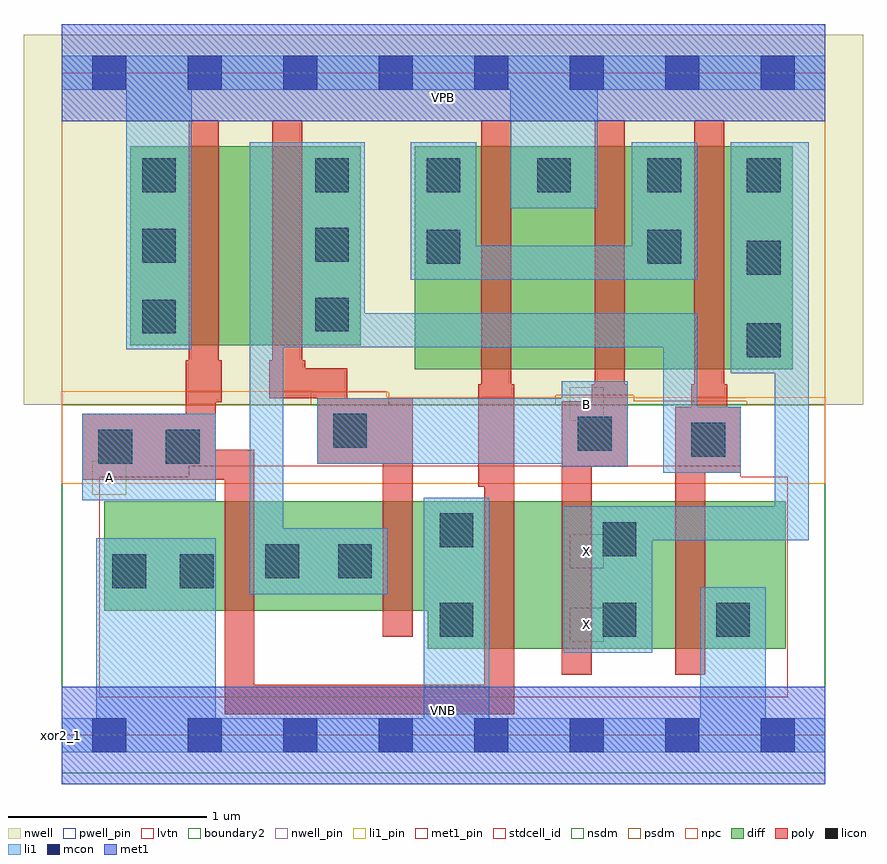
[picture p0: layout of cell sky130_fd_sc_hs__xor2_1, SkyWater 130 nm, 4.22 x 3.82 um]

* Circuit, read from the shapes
.subckt sky130_fd_sc_hs__xor2_1 A B VGND VNB VPB VPWR X
XM1 n1 A VGND VNB sky130_fd_pr__nfet_01v8_lvt w=0.55 l=0.15
XM2 VGND B n1 VNB sky130_fd_pr__nfet_01v8_lvt w=0.55 l=0.15
XM3 n2 A VGND VNB sky130_fd_pr__nfet_01v8_lvt w=0.74 l=0.15
XM4 X B n2 VNB sky130_fd_pr__nfet_01v8_lvt w=0.74 l=0.15
XM5 VGND n1 X VNB sky130_fd_pr__nfet_01v8_lvt w=0.74 l=0.15
XM6 n3 A VPWR VPB sky130_fd_pr__pfet_01v8 w=1 l=0.15
XM7 n1 B n3 VPB sky130_fd_pr__pfet_01v8 w=1 l=0.15
XM8 VPWR A n4 VPB sky130_fd_pr__pfet_01v8 w=1.12 l=0.15
XM9 n4 B VPWR VPB sky130_fd_pr__pfet_01v8 w=1.12 l=0.15
XM10 X n1 n4 VPB sky130_fd_pr__pfet_01v8 w=1.12 l=0.15
.ends

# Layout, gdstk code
import gdstk
lib = gdstk.Library(unit=1e-6, precision=1e-09)
def R(c, l, rs):  # rectangles x0, y0, x1, y1
    for r in rs: c.add(gdstk.rectangle(r[:2], r[2:], *l))
def A(c, l, x, y, w, h, nx, ny, dx, dy):  # array of equal rectangles
    R(c, l, [(x+i*dx, y+j*dy, x+i*dx+w, y+j*dy+h) for i in range(nx) for j in range(ny)])
def P(c, l, *ps):  # polygons
    for p in ps: c.add(gdstk.Polygon(p, *l))
nwell_pin = (64, 16)
nwell = (64, 20)
diff = (65, 20)
poly = (66, 20)
licon = (66, 44)
li1_pin = (67, 16)
li1 = (67, 20)
mcon = (67, 44)
met1_pin = (68, 16)
met1 = (68, 20)
stdcell_id = (81, 4)
nsdm = (93, 44)
psdm = (94, 20)
npc = (95, 20)
pwell_pin = (122, 16)
lvtn = (125, 44)
boundary2 = (236, 0)

sky130_fd_sc_hs__xor2_1 = lib.new_cell('sky130_fd_sc_hs__xor2_1')
R(sky130_fd_sc_hs__xor2_1, nwell_pin, [(0,3.085,3.84,3.33)])
R(sky130_fd_sc_hs__xor2_1, nwell, [(-0.19,1.66,4.03,3.52)])
R(sky130_fd_sc_hs__xor2_1, diff, [(1.775,1.84,3.675,2.96), (0.345,1.96,1.505,2.96)])
P(sky130_fd_sc_hs__xor2_1, diff, [(3.64,1.175),(0.215,1.175),(0.215,0.625),(1.84,0.625),(1.84,0.435),(3.64,0.435)])
P(sky130_fd_sc_hs__xor2_1, poly, [(2.845,1.765),(2.83,1.765),(2.83,3.09),(2.68,3.09),(2.68,1.765),(2.665,1.765),(2.665,1.68),(2.515,1.68),(2.515,0.305),(2.665,0.305),(2.665,1.35),(2.845,1.35)],
  [(3.415,1.65),(3.345,1.65),(3.345,1.765),(3.33,1.765),(3.33,3.09),(3.18,3.09),(3.18,1.765),(3.165,1.765),(3.165,1.65),(3.085,1.65),(3.085,0.305),(3.235,0.305),(3.235,1.32),(3.415,1.32)],
  [(1.765,1.695),(1.435,1.695),(1.435,1.845),(1.225,1.845),(1.225,1.885),(1.21,1.885),(1.21,3.09),(1.06,3.09),(1.06,1.885),(1.045,1.885),(1.045,1.695),(1.285,1.695),(1.285,1.365),(1.615,1.365),(1.615,0.495),(1.765,0.495)],
  [(2.275,1.765),(2.26,1.765),(2.26,3.09),(2.11,3.09),(2.11,1.765),(2.095,1.765),(2.095,1.25),(2.125,1.25),(2.125,0.255),(0.97,0.255),(0.97,1.435),(0.775,1.435),(0.775,1.675),(0.805,1.675),(0.805,1.885),(0.79,1.885),(0.79,3.09),(0.64,3.09),(0.64,1.885),(0.625,1.885),(0.625,1.615),(0.105,1.615),(0.105,1.285),(0.82,1.285),(0.82,0.105),(2.275,0.105)])
A(sky130_fd_sc_hs__xor2_1, licon, 3.445, 1.9, 0.17, 0.17, 1, 3, 0, 0.415)
A(sky130_fd_sc_hs__xor2_1, licon, 0.405, 2.02, 0.17, 0.17, 1, 3, 0, 0.355)
A(sky130_fd_sc_hs__xor2_1, licon, 1.275, 2.03, 0.17, 0.17, 1, 3, 0, 0.35)
A(sky130_fd_sc_hs__xor2_1, licon, 1.835, 2.73, 0.17, 0.17, 3, 1, 0.555, 0)
R(sky130_fd_sc_hs__xor2_1, licon, [(1.9,0.495,2.07,0.665), (2.72,0.495,2.89,0.665), (3.29,0.495,3.46,0.665), (0.255,0.74,0.425,0.91), (0.595,0.74,0.765,0.91), (1.025,0.79,1.195,0.96), (1.39,0.79,1.56,0.96), (2.72,0.9,2.89,1.07), (1.9,0.945,2.07,1.115), (0.185,1.365,0.355,1.535), (0.525,1.365,0.695,1.535), (3.165,1.4,3.335,1.57), (2.595,1.43,2.765,1.6), (1.365,1.445,1.535,1.615), (1.835,2.37,2.005,2.54), (2.945,2.37,3.115,2.54)])
R(sky130_fd_sc_hs__xor2_1, li1_pin, [(2.555,0.47,2.725,0.64), (2.555,0.84,2.725,1.01), (0.155,1.21,0.325,1.38), (2.555,1.58,2.725,1.75)])
R(sky130_fd_sc_hs__xor2_1, li1, [(0.105,1.18,0.775,1.615)])
P(sky130_fd_sc_hs__xor2_1, li1, [(0,-0.085),(0,0.085),(0.175,0.085),(0.175,0.99),(0.775,0.99),(0.775,0.085),(1.82,0.085),(1.82,1.195),(2.15,1.195),(2.15,0.085),(3.21,0.085),(3.21,0.745),(3.54,0.745),(3.54,0.085),(3.84,0.085),(3.84,-0.085)],
  [(0,3.245),(0,3.415),(3.84,3.415),(3.84,3.245),(2.695,3.245),(2.695,2.65),(2.255,2.65),(2.255,3.245),(0.655,3.245),(0.655,1.94),(0.325,1.94),(0.325,3.245)],
  [(2.845,1.35),(2.515,1.35),(2.515,1.365),(1.285,1.365),(1.285,1.695),(2.515,1.695),(2.515,1.78),(2.845,1.78)],
  [(2.525,0.415),(2.525,1.15),(3.585,1.15),(3.585,1.82),(3.365,1.82),(3.365,2.98),(3.755,2.98),(3.755,0.98),(2.97,0.98),(2.97,0.415)],
  [(1.525,2.12),(3.195,2.12),(3.195,1.65),(3.415,1.65),(3.415,1.32),(3.025,1.32),(3.025,1.95),(1.115,1.95),(1.115,1.04),(1.64,1.04),(1.64,0.71),(0.945,0.71),(0.945,2.98),(1.525,2.98)],
  [(2.085,2.46),(2.865,2.46),(2.865,2.98),(3.195,2.98),(3.195,2.29),(1.755,2.29),(1.755,2.98),(2.085,2.98)])
A(sky130_fd_sc_hs__xor2_1, mcon, 0.155, -0.085, 0.17, 0.17, 8, 2, 0.48, 3.33)
R(sky130_fd_sc_hs__xor2_1, met1_pin, [(0,0,3.84,0.245), (0,3.085,3.84,3.33)])
R(sky130_fd_sc_hs__xor2_1, met1, [(0,-0.245,3.84,0.245), (0,3.085,3.84,3.575)])
R(sky130_fd_sc_hs__xor2_1, stdcell_id, [(0,0,3.84,3.33)])
R(sky130_fd_sc_hs__xor2_1, nsdm, [(0,-0.19,3.84,1.66)])
P(sky130_fd_sc_hs__xor2_1, psdm, [(3.84,3.52),(0,3.52),(0,1.66),(1.255,1.66),(1.255,1.725),(1.645,1.725),(1.645,1.66),(2.485,1.66),(2.485,1.71),(2.875,1.71),(2.875,1.68),(3.445,1.68),(3.445,1.66),(3.84,1.66)])
P(sky130_fd_sc_hs__xor2_1, npc, [(3.84,1.7),(1.635,1.7),(1.635,1.73),(0,1.73),(0,1.265),(3.84,1.265)])
R(sky130_fd_sc_hs__xor2_1, pwell_pin, [(0,0,3.84,0.245)])
P(sky130_fd_sc_hs__xor2_1, lvtn, [(3.65,1.3),(3.415,1.3),(3.415,1.355),(0.64,1.355),(0.64,1.3),(0.19,1.3),(0.19,0.19),(3.65,0.19)])
R(sky130_fd_sc_hs__xor2_1, boundary2, [(0,0,3.84,3.33)])
sky130_fd_sc_hs__xor2_1.add(gdstk.Label('xor2_1', (0,0), layer=83, texttype=44))
sky130_fd_sc_hs__xor2_1.add(gdstk.Label('VNB', (1.92,0.123), layer=64, texttype=59))
sky130_fd_sc_hs__xor2_1.add(gdstk.Label('VPB', (1.92,3.208), layer=64, texttype=5))
sky130_fd_sc_hs__xor2_1.add(gdstk.Label('VPWR', (1.92,3.208), layer=68, texttype=5))
sky130_fd_sc_hs__xor2_1.add(gdstk.Label('VGND', (1.92,0.123), layer=68, texttype=5))
sky130_fd_sc_hs__xor2_1.add(gdstk.Label('A', (0.24,1.295), layer=67, texttype=5))
sky130_fd_sc_hs__xor2_1.add(gdstk.Label('B', (2.64,1.665), layer=67, texttype=5))
sky130_fd_sc_hs__xor2_1.add(gdstk.Label('X', (2.64,0.555), layer=67, texttype=5))
sky130_fd_sc_hs__xor2_1.add(gdstk.Label('X', (2.64,0.925), layer=67, texttype=5))

lib.write_gds('sky130_fd_sc_hs__xor2_1.gds')
